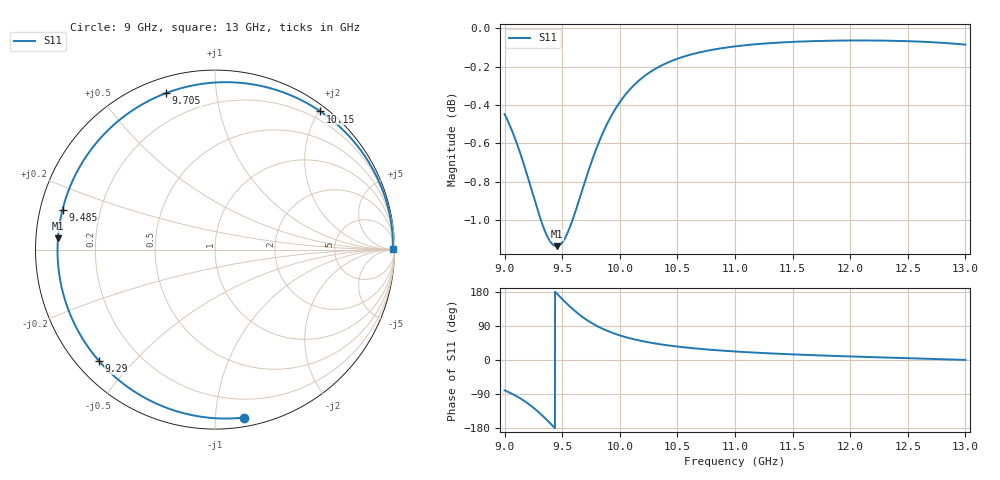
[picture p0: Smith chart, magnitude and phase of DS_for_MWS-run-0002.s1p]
! TOUCHSTONE file generated by CST DESIGN STUDIO
! Date and time: Wed Feb  5 13:43:14 2025
! Project name: C:\Work\MatlabApps\UnitCellOptimizationMatlab\CST\unitcell.cst
! Tree item: Tasks\Sweep1\SPara1\S-Parameters
! Header version: 2024
! Port assignment regex: !\s*Touchstone port\s*([0-9]+)\s*=\s*(CST MWS port|CST DES external port|CST DES block port)\s*(.+)\s* \(\"(.*)\"\)(\s*mode\s*([0-9]+))?.*
! Touchstone port assignment:
! Touchstone port 1 = CST DES external port 1 ("")
# GHz S MA R 50
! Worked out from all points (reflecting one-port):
!   4001 points, 9 GHz to 13 GHz, reference 50 ohm
!   lowest |S11| = -1.1 dB at 9.451 GHz (marker M1), VSWR 15.30, Z = 3.27 + j1.8 ohm
!   phase of S11 starts at -80 deg and turns -280 deg over the sweep
!   S11 on the Smith chart (normalised r, x): 9 GHz: 0.06, -1.19; 9.29 GHz: 0.06, -0.40; 9.485 GHz: 0.07, +0.13; 9.705 GHz: 0.07, +0.73; 10.15 GHz: 0.08, +2.02; 13 GHz: open
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9  0.9498 -80.1
9.089  0.9362 -93.1
9.162  0.9226 -106.3
9.228  0.9088 -120.6
9.29  0.8959 -136.2
9.336  0.8875 -149.0
9.376  0.8818 -160.9
9.414  0.8784 -172.6
9.451  0.8773 175.9
9.485  0.8782 165.3
9.5  0.8792 160.7
9.553  0.8853 145.0
9.603  0.8936 131.3
9.653  0.9032 118.9
9.705  0.9135 107.4
9.762  0.9243 96.5
9.826  0.9351 86.0
9.911  0.947 74.5
10  0.9567 65.0
10.152  0.9683 52.6
10.31  0.9761 43.5
10.5  0.9819 35.4
10.723  0.9862 28.6
11  0.9893 22.5
11.5  0.9919 14.8
12  0.9928 9.4
12.5  0.9924 4.8
13  0.9903 0.2
